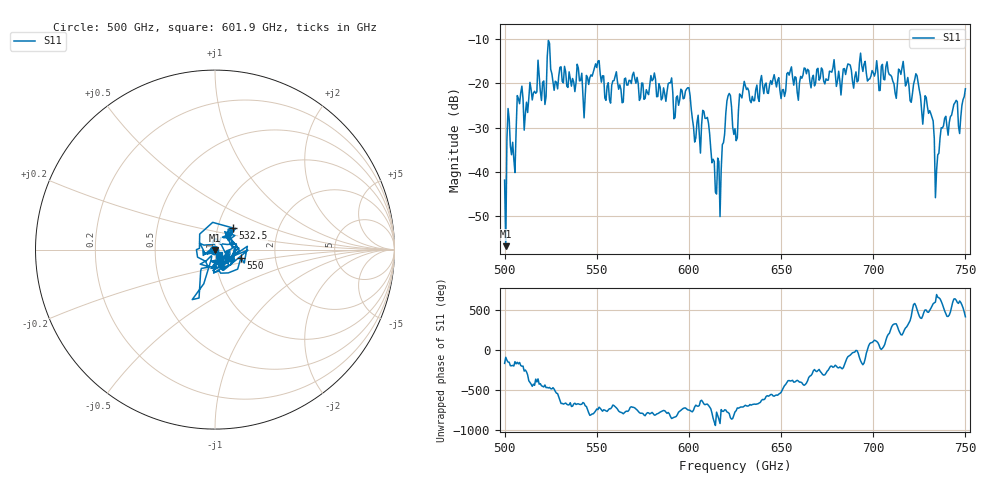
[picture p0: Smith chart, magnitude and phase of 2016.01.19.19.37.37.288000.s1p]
!Created with skrf (http://scikit-rf.org).
# GHz S RI R 50.0
!freq ReS11 ImS11
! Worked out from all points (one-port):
!   401 points, 500 GHz to 750 GHz, reference 50 ohm
!   lowest |S11| = -56.7 dB at 500.6 GHz (marker M1), VSWR 1.00, Z = 50 - j0.145 ohm
!   |S11| at or under -10 dB: start of sweep to end of sweep
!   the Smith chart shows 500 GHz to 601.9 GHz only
!   S11 on the Smith chart (normalised r, x): 500 GHz: 0.98, -0.00; 532.5 GHz: 1.18, +0.29; 550 GHz: 1.33, -0.12; 601.9 GHz: 1.05, -0.07
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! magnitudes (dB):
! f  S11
! 500 GHz  -41.8
! 500.6 GHz  -56.7
! 502.5 GHz  -28.1
! 505 GHz  -37.1
! 508.1 GHz  -24.6
! 521.2 GHz  -19.4
! 524.4 GHz  -10.9
! 527.5 GHz  -19.5
! 531.2 GHz  -19.5
! 532.5 GHz  -16.1
! 543.8 GHz  -22.5
! 550 GHz  -16.4
! 562.5 GHz  -20.3
! 593.8 GHz  -22.8
! 599.4 GHz  -21.0
! 601.9 GHz  -28.0
! 609.4 GHz  -27.9
! 615.6 GHz  -36.9
! 621.2 GHz  -22.8
! 625 GHz  -30.2
! 630.6 GHz  -20.5
! 656.2 GHz  -18.7
! 687.5 GHz  -15.8
! 718.8 GHz  -18.7
! 729.4 GHz  -25.2
! 734.4 GHz  -39.6
! 738.1 GHz  -29.6
! 750 GHz  -21.2
